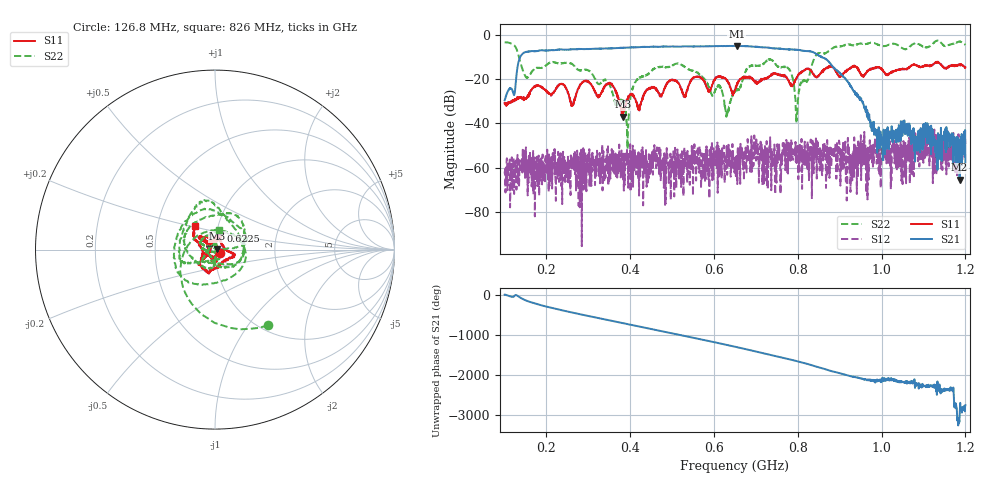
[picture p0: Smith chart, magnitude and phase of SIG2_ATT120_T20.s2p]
# Hz S DB R 50
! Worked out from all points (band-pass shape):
!   1601 points, 100 MHz to 1.2 GHz, reference 50 ohm
!   highest |S21| = -5.02 dB at 654.1 MHz (marker M1); lowest = -65.5 dB at 1.186 GHz (marker M2)
!   |S21| within 3 dB of the highest: 146.6 MHz to 837.7 MHz (691.1 MHz wide, 140 % of centre)
!   lowest |S11| = -37.0 dB at 382.6 MHz (marker M3), VSWR 1.03, Z = 51.3 + j0.627 ohm
!   |S11| at or under -10 dB: start of sweep to end of sweep
!   |S22| runs from -51.6 to -2.6 dB; largest |S21 - S12| = 0.56
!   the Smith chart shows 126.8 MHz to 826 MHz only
!   S11 on the Smith chart (normalised r, x): 126.8 MHz: 1.06, -0.04; 622.5 MHz: 1.04, +0.22; 826 MHz: 0.77, +0.21
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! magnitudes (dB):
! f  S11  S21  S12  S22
! 100 MHz  -30.9  -29.6  -61.7  -3.5
! 126.8 MHz  -29.2  -21.0  -58.2  -5.8
! 152.9 MHz  -28.5  -7.7  -56.5  -19.3
! 236.1 MHz  -22.1  -6.6  -62.2  -12.9
! 262.2 MHz  -32.0  -6.6  -56.5  -13.4
! 283.6 MHz  -21.9  -6.4  -55.8  -16.1
! 354.4 MHz  -22.1  -6.1  -57.1  -24.5
! 382.6 MHz  -37.0  -5.9  -65.1  -30.0
! 393.6 MHz  -28.8  -5.8  -58.3  -51.6
! 412.8 MHz  -29.6  -5.7  -56.6  -21.2
! 467.1 MHz  -26.3  -5.4  -59.8  -14.6
! 622.5 MHz  -19.3  -5.1  -54.7  -28.0
! 650 MHz  -25.2  -5.0  -62.2  -25.4
! 654.1 MHz  -22.9  -5.0  -54.9  -24.8
! 735.2 MHz  -18.6  -6.0  -55.5  -11.2
! 779.9 MHz  -21.7  -6.6  -53.4  -15.6
! 797.8 MHz  -19.4  -6.7  -53.2  -38.3
! 826 MHz  -15.3  -7.5  -60.1  -19.2
! 833.6 MHz  -16.6  -7.7  -74.2  -13.9
! 1.017 GHz  -17.5  -47.7  -48.5  -4.6
! 1.186 GHz  -13.7  -65.5  -50.7  -3.0
! 1.2 GHz  -14.7  -59.6  -49.3  -4.6
